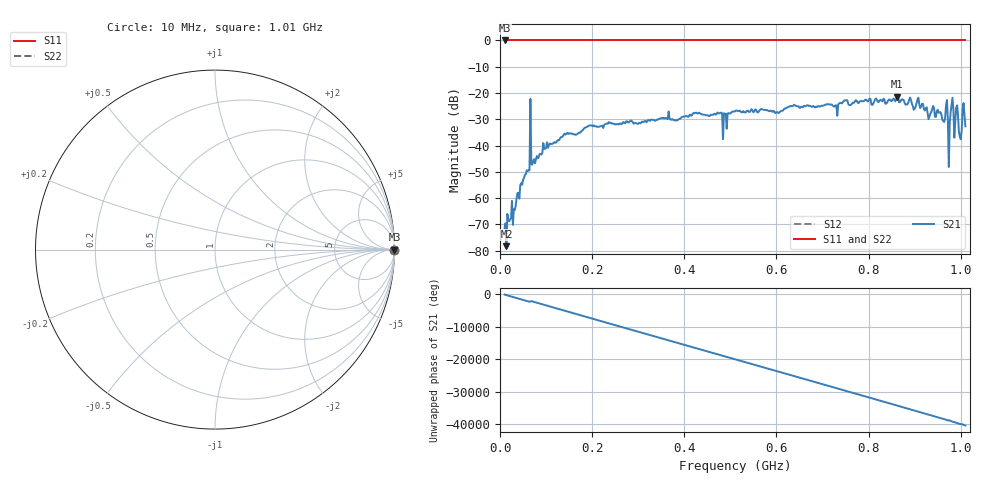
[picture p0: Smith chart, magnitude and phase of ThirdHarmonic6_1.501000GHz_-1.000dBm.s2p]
! 8/16/2025 5:38:16 PM
! C:\ANRITSUVNA\TEMP\TEMP.S2P
! CHANNEL.1
! TR.MEASUREMENT
! RAW.DATA
! RF.CORRECTION.OFF
! AVERAGING.OFF
! IF.BANDWIDTH: 5KHZ
! SWEEPTYPE:  FREQ.SWEEP(Linear)
! Reference Plane Port Info
! PORT:  PORT1  PORT2
! DISTANCE:  0  m  0  m
! TIME:  0  s  0  s
! PHASE.OFFSET:  0  deg.  0  deg.
! LOSS:  0  dB  0  dB
! REF.LOSS:  0  dB  0  dB
! REF.FREQ:  0  Hz  0  Hz
! Power Info
! POWER:  -20  dBm  -20  dBm
! EFF.POWER:  -20  dBm  -20  dBm
! SOURCE.ATTEN:  0  dB  0  dB
! TEST.ATTEN:  0  dB  0  dB
# GHZ S RI R 50.0
! FREQ.GHZ  S11RE  S11IM  S21RE  S21IM  S12RE  S12IM  S22RE  S22IM
!; PortSelection: Port_12
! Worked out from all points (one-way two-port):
!   501 points, 10 MHz to 1.01 GHz, reference 50 ohm
!   highest |S21| = -21.33 dB at 862 MHz (marker M1); lowest = -78.3 dB at 14 MHz (marker M2)
!   lowest |S11| = 0.0 dB at 10 MHz (marker M3)
!   |S11| at or under -10 dB: nowhere
!   |S22| runs from 0.0 to 0.0 dB; largest |S21 - S12| = 1.1
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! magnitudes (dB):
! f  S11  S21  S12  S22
! 10 MHz  0.0  -71.5  0.0  0.0
! 14 MHz  0.0  -78.3  0.0  0.0
! 32 MHz  0.0  -64.5  0.0  0.0
! 70 MHz  0.0  -47.3  0.0  0.0
! 72 MHz  0.0  -45.9  0.0  0.0
! 98 MHz  0.0  -41.3  0.0  0.0
! 178 MHz  0.0  -34.3  0.0  0.0
! 344 MHz  0.0  -29.9  0.0  0.0
! 476 MHz  0.0  -27.8  0.0  0.0
! 488 MHz  0.0  -28.0  0.0  0.0
! 510 MHz  0.0  -27.0  0.0  0.0
! 678 MHz  0.0  -25.2  0.0  0.0
! 844 MHz  0.0  -22.5  0.0  0.0
! 862 MHz  0.0  -21.3  0.0  0.0
! 962 MHz  0.0  -30.7  0.0  0.0
! 968 MHz  0.0  -24.6  0.0  0.0
! 976 MHz  0.0  -31.7  0.0  0.0
! 980 MHz  0.0  -24.6  0.0  0.0
! 992 MHz  0.0  -24.7  0.0  0.0
! 998 MHz  0.0  -36.6  0.0  0.0
! 1.006 GHz  0.0  -23.8  0.0  0.0
! 1.01 GHz  0.0  -32.7  0.0  0.0
